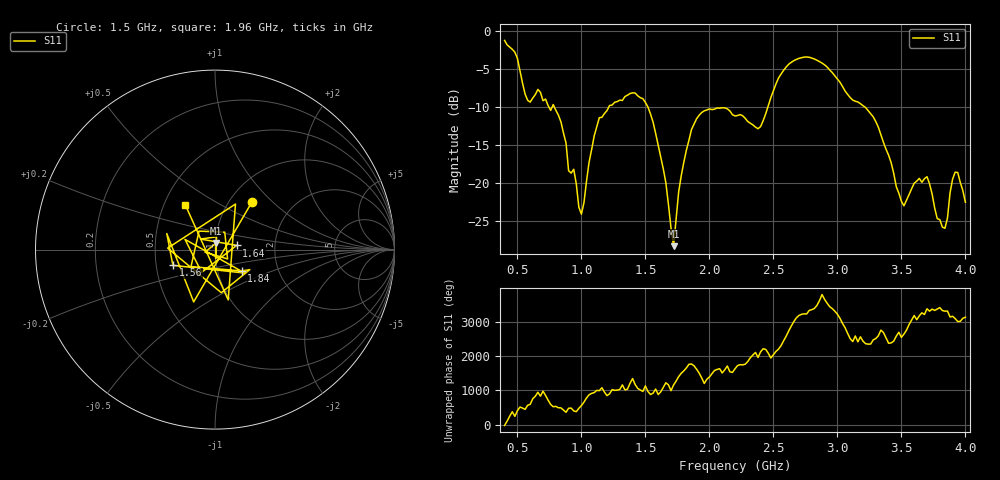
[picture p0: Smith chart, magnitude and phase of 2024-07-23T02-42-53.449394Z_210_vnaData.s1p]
!Created with skrf (http://scikit-rf.org).
# Hz S RI R 50.0
!freq ReS11 ImS11
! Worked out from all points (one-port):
!   181 points, 400 MHz to 4 GHz, reference 50 ohm
!   lowest |S11| = -28.4 dB at 1.72 GHz (marker M1), VSWR 1.08, Z = 50.6 + j3.8 ohm
!   |S11| at or under -10 dB: 787.9 MHz to 1.215 GHz (427 MHz wide, 42.6 % of centre); 1.519 GHz to 2.457 GHz (938.6 MHz wide, 47.2 % of centre); 3.212 GHz to end of sweep (the widest 3 of 4)
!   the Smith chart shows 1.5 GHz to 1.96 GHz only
!   S11 on the Smith chart (normalised r, x): 1.5 GHz: 1.26, +0.76; 1.56 GHz: 0.61, -0.11; 1.64 GHz: 1.27, +0.06; 1.84 GHz: 1.30, -0.32; 1.96 GHz: 0.64, +0.35
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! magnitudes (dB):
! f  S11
! 400 MHz  -1.3
! 500 MHz  -3.6
! 580 MHz  -9.1
! 660 MHz  -7.7
! 860 MHz  -13.5
! 900 MHz  -18.4
! 1 GHz  -24.1
! 1.14 GHz  -11.4
! 1.3 GHz  -9.1
! 1.5 GHz  -9.4
! 1.56 GHz  -12.0
! 1.64 GHz  -18.2
! 1.72 GHz  -28.4
! 1.76 GHz  -21.2
! 1.84 GHz  -14.4
! 1.96 GHz  -10.5
! 2.2 GHz  -11.2
! 2.4 GHz  -12.6
! 2.66 GHz  -3.9
! 2.88 GHz  -4.3
! 3.1 GHz  -8.8
! 3.3 GHz  -11.9
! 3.52 GHz  -23.0
! 3.56 GHz  -21.6
! 3.7 GHz  -19.2
! 3.84 GHz  -26.0
! 3.92 GHz  -18.6
! 4 GHz  -22.6
